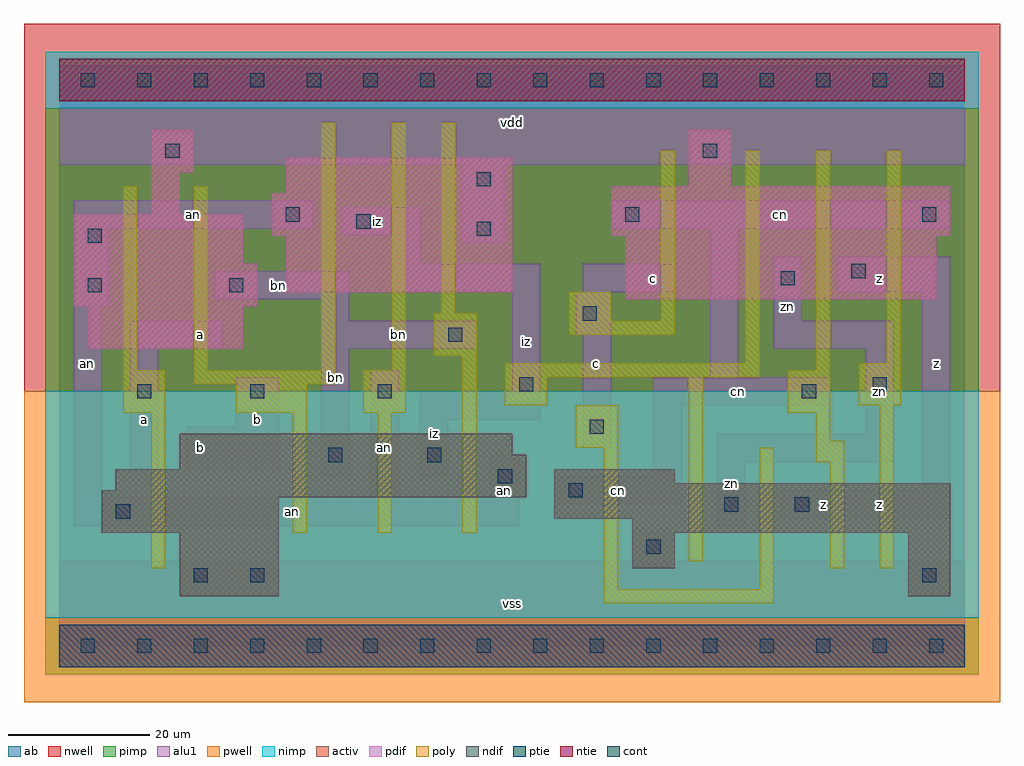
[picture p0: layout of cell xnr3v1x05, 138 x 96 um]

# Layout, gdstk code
import gdstk
lib = gdstk.Library(unit=1e-6, precision=1e-09)
def R(c, l, rs):  # rectangles x0, y0, x1, y1
    for r in rs: c.add(gdstk.rectangle(r[:2], r[2:], *l))
def A(c, l, x, y, w, h, nx, ny, dx, dy):  # array of equal rectangles
    R(c, l, [(x+i*dx, y+j*dy, x+i*dx+w, y+j*dy+h) for i in range(nx) for j in range(ny)])
ndif = (3, 0)
pdif = (4, 0)
ntie = (5, 0)
ptie = (6, 0)
cont = (25, 0)
pwell = (41, 0)
nwell = (42, 0)
activ = (43, 0)
pimp = (44, 0)
nimp = (45, 0)
poly = (46, 0)
alu1 = (49, 0)
ab = (63, 0)

xnr3v1x05 = lib.new_cell('xnr3v1x05')
R(xnr3v1x05, ndif, [(17,7,31,16), (120,7,126,16), (81,11,87,16), (6,16,31,21), (81,16,126,18), (70,18,126,23), (6,21,66,22), (8,22,66,25), (70,23,87,25), (17,25,66,27), (17,27,64,30)])
R(xnr3v1x05, pdif, [(4,42,26,48), (2,48,28,54), (80,49,124,58), (32,50,64,58), (2,54,26,61), (30,58,64,64), (78,58,126,65), (13,61,17,67), (32,64,64,69), (89,65,95,73), (13,67,19,73)])
R(xnr3v1x05, ntie, [(0,77,128,83)])
R(xnr3v1x05, ptie, [(0,-3,128,3)])
A(xnr3v1x05, cont, 3, -1, 2, 2, 16, 2, 8, 80)
R(xnr3v1x05, cont, [(19,9,21,11), (27,9,29,11), (122,9,124,11), (83,13,85,15), (8,18,10,20), (94,19,96,21), (104,19,106,21), (72,21,74,23), (62,23,64,25), (38,26,40,28), (52,26,54,28), (75,30,77,32), (11,35,13,37), (27,35,29,37), (45,35,47,37), (105,35,107,37), (65,36,67,38), (115,36,117,38), (55,43,57,45), (74,46,76,48), (4,50,6,52), (24,50,26,52), (102,51,104,53), (112,52,114,54), (4,57,6,59), (59,58,61,60), (42,59,44,61), (32,60,34,62), (80,60,82,62), (122,60,124,62), (59,65,61,67), (15,69,17,71), (91,69,93,71)])
R(xnr3v1x05, pwell, [(-5,-8,133,36)])
R(xnr3v1x05, nwell, [(-5,36,133,88)])
R(xnr3v1x05, activ, [(0,-3,128,3), (17,7,31,16), (120,7,126,16), (81,11,87,16), (6,16,31,21), (81,16,126,18), (70,18,126,23), (6,21,66,22), (8,22,66,25), (70,23,87,25), (17,25,66,27), (17,27,64,30), (4,42,26,48), (2,48,28,54), (80,49,124,58), (32,50,64,58), (2,54,26,61), (30,58,64,64), (78,58,126,65), (13,61,17,67), (32,64,64,69), (89,65,95,73), (13,67,19,73), (0,77,128,83)])
R(xnr3v1x05, pimp, [(-2,-4,130,4), (-2,36,130,76)])
R(xnr3v1x05, nimp, [(-2,4,130,36), (-2,76,130,84)])
R(xnr3v1x05, poly, [(77,6,101,8), (77,8,79,28), (99,8,101,28), (13,11,15,33), (109,11,111,26), (116,11,118,34), (89,12,91,38), (33,16,35,33), (45,16,47,33), (57,16,59,41), (107,26,111,29), (73,28,79,34), (107,29,109,33), (9,33,15,39), (25,33,35,37), (43,33,49,39), (103,33,109,39), (63,34,69,38), (113,34,119,40), (19,37,39,39), (63,38,99,40), (9,39,11,65), (19,39,21,65), (37,39,39,74), (47,39,49,74), (107,39,109,70), (97,40,99,70), (117,40,119,70), (53,41,59,47), (72,44,87,46), (72,46,78,50), (85,46,87,70), (54,47,56,74)])
R(xnr3v1x05, alu1, [(0,-2,128,12), (81,12,87,16), (2,17,65,21), (93,17,97,26), (102,18,126,22), (70,20,88,24), (2,21,6,48), (44,21,48,39), (61,21,65,27), (122,22,126,50), (37,24,41,42), (51,24,55,32), (84,24,88,34), (10,25,14,42), (18,25,31,31), (93,26,118,30), (74,28,78,44), (114,30,118,42), (25,31,31,38), (51,32,68,36), (84,34,109,38), (64,36,68,50), (92,38,96,59), (10,42,23,46), (37,42,59,46), (101,42,118,46), (73,44,78,50), (37,46,41,49), (101,46,105,55), (2,48,7,59), (22,49,41,53), (47,50,68,54), (74,50,87,54), (110,50,126,55), (47,54,51,58), (57,57,63,68), (40,58,51,62), (2,59,36,63), (78,59,126,63), (0,68,128,82)])
R(xnr3v1x05, ab, [(0,0,128,80)])
xnr3v1x05.add(gdstk.Label('an', (4,40), layer=49, texttype=0))
xnr3v1x05.add(gdstk.Label('an', (46,28), layer=49, texttype=0))
xnr3v1x05.add(gdstk.Label('bn', (31,51), layer=49, texttype=0))
xnr3v1x05.add(gdstk.Label('bn', (39,38), layer=49, texttype=0))
xnr3v1x05.add(gdstk.Label('an', (19,61), layer=49, texttype=0))
xnr3v1x05.add(gdstk.Label('an', (33,19), layer=49, texttype=0))
xnr3v1x05.add(gdstk.Label('an', (63,22), layer=49, texttype=0))
xnr3v1x05.add(gdstk.Label('iz', (53,30), layer=49, texttype=0))
xnr3v1x05.add(gdstk.Label('bn', (48,44), layer=49, texttype=0))
xnr3v1x05.add(gdstk.Label('iz', (66,43), layer=49, texttype=0))
xnr3v1x05.add(gdstk.Label('iz', (45,60), layer=49, texttype=0))
xnr3v1x05.add(gdstk.Label('cn', (79,22), layer=49, texttype=0))
xnr3v1x05.add(gdstk.Label('zn', (95,23), layer=49, texttype=0))
xnr3v1x05.add(gdstk.Label('zn', (116,36), layer=49, texttype=0))
xnr3v1x05.add(gdstk.Label('cn', (96,36), layer=49, texttype=0))
xnr3v1x05.add(gdstk.Label('zn', (103,48), layer=49, texttype=0))
xnr3v1x05.add(gdstk.Label('cn', (102,61), layer=49, texttype=0))
xnr3v1x05.add(gdstk.Label('b', (28,32), layer=49, texttype=0))
xnr3v1x05.add(gdstk.Label('b', (20,28), layer=49, texttype=0))
xnr3v1x05.add(gdstk.Label('a', (12,32), layer=49, texttype=0))
xnr3v1x05.add(gdstk.Label('a', (20,44), layer=49, texttype=0))
xnr3v1x05.add(gdstk.Label('vss', (64,6), layer=49, texttype=0))
xnr3v1x05.add(gdstk.Label('c', (76,40), layer=49, texttype=0))
xnr3v1x05.add(gdstk.Label('c', (84,52), layer=49, texttype=0))
xnr3v1x05.add(gdstk.Label('vdd', (64,74), layer=49, texttype=0))
xnr3v1x05.add(gdstk.Label('z', (116,20), layer=49, texttype=0))
xnr3v1x05.add(gdstk.Label('z', (108,20), layer=49, texttype=0))
xnr3v1x05.add(gdstk.Label('z', (124,40), layer=49, texttype=0))
xnr3v1x05.add(gdstk.Label('z', (116,52), layer=49, texttype=0))

lib.write_gds('xnr3v1x05.gds')
